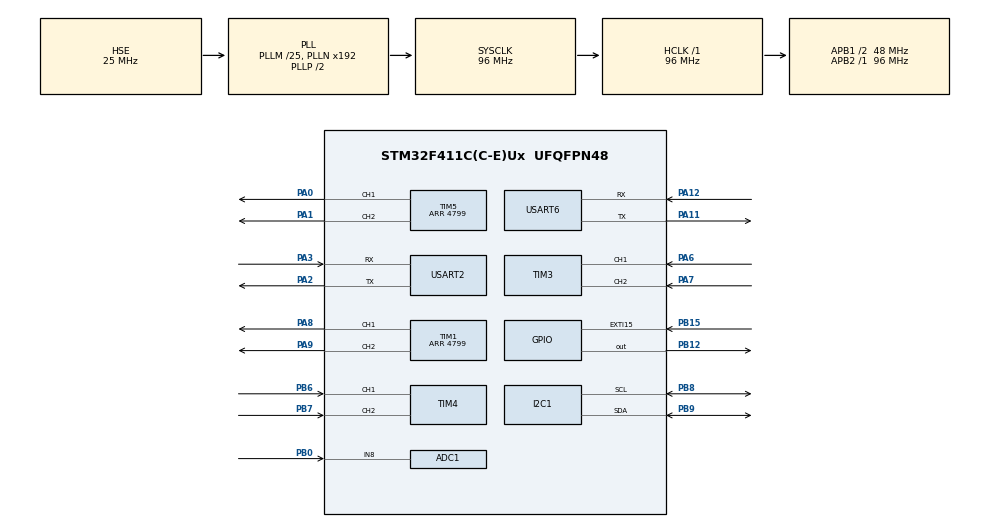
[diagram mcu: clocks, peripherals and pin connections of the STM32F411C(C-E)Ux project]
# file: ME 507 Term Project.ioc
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ADC1.Channel-3\#ChannelRegularConversion=ADC_CHANNEL_8
ADC1.NbrOfConversionFlag=1
ADC1.Rank-3\#ChannelRegularConversion=1
ADC1.SamplingTime-3\#ChannelRegularConversion=ADC_SAMPLETIME_3CYCLES
ADC1.master=1
Dma.Request0=USART2_RX
Dma.USART2_RX.0.Direction=DMA_PERIPH_TO_MEMORY
Dma.USART2_RX.0.FIFOMode=DMA_FIFOMODE_DISABLE
Dma.USART2_RX.0.Instance=DMA1_Stream5
Dma.USART2_RX.0.MemDataAlignment=DMA_MDATAALIGN_BYTE
Dma.USART2_RX.0.MemInc=DMA_MINC_ENABLE
Dma.USART2_RX.0.Mode=DMA_NORMAL
Dma.USART2_RX.0.PeriphDataAlignment=DMA_PDATAALIGN_BYTE
Dma.USART2_RX.0.PeriphInc=DMA_PINC_DISABLE
Dma.USART2_RX.0.Priority=DMA_PRIORITY_LOW
I2C1.I2C_Mode=I2C_Fast
Mcu.Family=STM32F4
Mcu.Name=STM32F411C(C-E)Ux
Mcu.Package=UFQFPN48
NVIC.DMA1_Stream5_IRQn=true\:0\:0\:false\:false\:true\:false\:true\:true
NVIC.EXTI15_10_IRQn=true\:0\:0\:false\:false\:true\:true\:true\:true
NVIC.PriorityGroup=NVIC_PRIORITYGROUP_4
NVIC.USART2_IRQn=true\:0\:0\:false\:false\:true\:true\:true\:true
NVIC.USART6_IRQn=true\:0\:0\:false\:false\:true\:true\:true\:true
PA0-WKUP.Signal=S_TIM5_CH1
PA1.Signal=S_TIM5_CH2
PA11.Mode=Asynchronous
PA11.Signal=USART6_TX
PA12.Mode=Asynchronous
PA12.Signal=USART6_RX
PA13.Mode=Trace_Asynchronous_SW
PA13.Signal=SYS_JTMS-SWDIO
PA14.Mode=Trace_Asynchronous_SW
PA14.Signal=SYS_JTCK-SWCLK
PA2.Mode=Asynchronous
PA2.Signal=USART2_TX
PA3.Mode=Asynchronous
PA3.Signal=USART2_RX
PA5.Signal=S_TIM2_CH1_ETR
PA6.Signal=S_TIM3_CH1
PA7.Signal=S_TIM3_CH2
PA8.Signal=S_TIM1_CH1
PA9.Signal=S_TIM1_CH2
PB0.Signal=ADCx_IN8
PB12.Signal=GPIO_Output
PB15.GPIO_ModeDefaultEXTI=GPIO_MODE_IT_FALLING
PB15.Signal=GPXTI15
PB3.Mode=Trace_Asynchronous_SW
PB3.Signal=SYS_JTDO-SWO
PB6.Signal=S_TIM4_CH1
PB7.Signal=S_TIM4_CH2
PB8.Mode=I2C
PB8.Signal=I2C1_SCL
PB9.Mode=I2C
PB9.Signal=I2C1_SDA
PH0\ -\ OSC_IN.Mode=HSE-External-Oscillator
PH0\ -\ OSC_IN.Signal=RCC_OSC_IN
PH1\ -\ OSC_OUT.Mode=HSE-External-Oscillator
PH1\ -\ OSC_OUT.Signal=RCC_OSC_OUT
ProjectManager.HeapSize=0x200
ProjectManager.StackSize=0x400
ProjectManager.TargetToolchain=STM32CubeIDE
RCC.48MHZClocksFreq_Value=48000000
RCC.AHBFreq_Value=96000000
RCC.APB1CLKDivider=RCC_HCLK_DIV2
RCC.APB1Freq_Value=48000000
RCC.APB1TimFreq_Value=96000000
RCC.APB2Freq_Value=96000000
RCC.APB2TimFreq_Value=96000000
RCC.CortexFreq_Value=96000000
RCC.HCLKFreq_Value=96000000
RCC.HSE_VALUE=25000000
RCC.HSI_VALUE=16000000
RCC.LSE_VALUE=32768
RCC.PLLM=25
RCC.PLLSourceVirtual=RCC_PLLSOURCE_HSE
RCC.SYSCLKFreq_VALUE=96000000
RCC.SYSCLKSource=RCC_SYSCLKSOURCE_PLLCLK
RCC.VCOOutputFreq_Value=192000000
SH.ADCx_IN8.0=ADC1_IN8,IN8
SH.S_TIM1_CH1.0=TIM1_CH1,PWM Generation1 CH1
SH.S_TIM1_CH2.0=TIM1_CH2,PWM Generation2 CH2
SH.S_TIM2_CH1_ETR.0=TIM2_CH1
SH.S_TIM3_CH1.0=TIM3_CH1,Encoder_Interface
SH.S_TIM3_CH2.0=TIM3_CH2,Encoder_Interface
SH.S_TIM4_CH1.0=TIM4_CH1,Encoder_Interface
SH.S_TIM4_CH2.0=TIM4_CH2,Encoder_Interface
SH.S_TIM5_CH1.0=TIM5_CH1,PWM Generation1 CH1
SH.S_TIM5_CH2.0=TIM5_CH2,PWM Generation2 CH2
TIM1.Channel-PWM\ Generation1\ CH1=TIM_CHANNEL_1
TIM1.Channel-PWM\ Generation2\ CH2=TIM_CHANNEL_2
TIM1.OCPolarity_1=TIM_OCPOLARITY_LOW
TIM1.OCPolarity_2=TIM_OCPOLARITY_LOW
TIM1.Period=4799
TIM1.TIM_MasterOutputTrigger=TIM_TRGO_OC2REF
TIM2.Prescaler=95
TIM3.EncoderMode=TIM_ENCODERMODE_TI12
TIM3.IC1Filter=3
TIM3.IC1Polarity=TIM_ICPOLARITY_FALLING
TIM4.EncoderMode=TIM_ENCODERMODE_TI12
TIM4.IC1Filter=3
TIM4.IC2Filter=3
TIM5.Channel-PWM\ Generation1\ CH1=TIM_CHANNEL_1
TIM5.Channel-PWM\ Generation2\ CH2=TIM_CHANNEL_2
TIM5.OCPolarity_1=TIM_OCPOLARITY_LOW
TIM5.OCPolarity_2=TIM_OCPOLARITY_LOW
TIM5.Period=4799
TIM5.TIM_MasterOutputTrigger=TIM_TRGO_OC2REF
USART2.VirtualMode=VM_ASYNC
USART6.VirtualMode=VM_ASYNC
VP_TIM2_VS_ClockSourceINT.Mode=Internal
board=custom

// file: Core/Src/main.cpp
/* USER CODE BEGIN Header */
/**
  ******************************************************************************
  * @file main.c
  * @brief Main control logic for self-balancing differential drive robot.
  * @details Initializes all peripherals, sensor interfaces, and control tasks.
  *          Executes an infinite loop running control algorithms based on either
  *          Bluetooth commands from a laptop or custom controller inputs from a lab partner.
  *
  * Developed for ME 507 Spring 2025 at Cal Poly.
  *
  * @author Jack Maxwell
  * @date 2025-06-10
  ******************************************************************************
  * @attention
  *
  * Copyright (c) 2025 STMicroelectronics.
  * All rights reserved.
  *
  * This software is licensed under terms that can be found in the LICENSE file
  * in the root directory of this software component.
  * If no LICENSE file comes with this software, it is provided AS-IS.
  *
  ******************************************************************************
  */

/* USER CODE END Header */
#include "main.h"

/* USER CODE BEGIN Includes */
#include "motor_driver.h"
#include "encoder.h"
#include "time_utils.h"
#include "BNO055_STM32.h"
#include "bno055_init.h"

#include "uart_dma_idle.h"
#include "command_parser.h"

#include "motor_task.h"
#include "balance.h"
#include "heading.h"
#include "bluetooth.h"
#include "battery_check.h"

#include <stdint.h>
#include <stdio.h>
#include <stdlib.h>
#include <string.h>
/* USER CODE END Includes */

ADC_HandleTypeDef hadc1;

I2C_HandleTypeDef hi2c1;

TIM_HandleTypeDef htim1;
TIM_HandleTypeDef htim2;
TIM_HandleTypeDef htim3;
TIM_HandleTypeDef htim4;
TIM_HandleTypeDef htim5;

UART_HandleTypeDef huart2;
UART_HandleTypeDef huart6;
DMA_HandleTypeDef hdma_usart2_rx;

/* USER CODE BEGIN PV */

// FSM Initialization
    HEADING heading = HEADING();
    BALANCE balance = BALANCE();
    MOTOR_TASK motor_task = MOTOR_TASK();
    BLUETOOTH bluetooth = BLUETOOTH();
    BATTERY_CHECK battery_check = BATTERY_CHECK();

// Declare BNO055
    BNO055_Sensors_t BNO055;	/*!BNO055 data structure definition which hold euler, quaternion, linearaccel, gyro etc. parameters*/

// Declare command parser class
    COMMAND_PARSER parser;

// Declare User button variable
    volatile bool USER = 0;

// Code for testing controller commands
    #define BUFFER_SIZE 64
    uint8_t rx_byte;
    uint8_t rx_buffer[BUFFER_SIZE];
    uint8_t buffer_index = 0;
    volatile uint8_t command_ready = 0;

// Code for initializing velocity setpoint for laptop bluetooth control
    int32_t AR = 0;
    int32_t V = 0;

/* USER CODE END PV */

void SystemClock_Config(void);
static void MX_GPIO_Init(void);
static void MX_DMA_Init(void);
static void MX_ADC1_Init(void);
static void MX_I2C1_Init(void);
static void MX_TIM1_Init(void);
static void MX_TIM3_Init(void);
static void MX_TIM4_Init(void);
static void MX_TIM5_Init(void);
static void MX_USART2_UART_Init(void);
static void MX_USART6_UART_Init(void);
static void MX_TIM2_Init(void);

int main(void)
{

  /* MCU Configuration--------------------------------------------------------*/

  /* Reset of all peripherals, Initializes the Flash interface and the Systick. */
  HAL_Init();

  /* Configure the system clock */
  SystemClock_Config();

  /* Initialize all configured peripherals */
  MX_GPIO_Init();
  MX_DMA_Init();
  MX_ADC1_Init();
  MX_I2C1_Init();
  MX_TIM1_Init();
  MX_TIM3_Init();
  MX_TIM4_Init();
  MX_TIM5_Init();
  MX_USART2_UART_Init();
  MX_USART6_UART_Init();
  MX_TIM2_Init();
  /* USER CODE BEGIN 2 */
  UART_DMA_IDLE_Init(&huart2);	// Start DMA IDLE Line detection.

  Sensor_Init();  	//Initialization of BNO055 sensor groups

  // Code for setting modified velocity
  AR = htim1.Init.Period;
  //  V = (AR * 20) / 100;	// 20% Velocity Modifier
  V = 5000;	// Velocity setpoint in encoder counts per second
  HAL_TIM_Base_Start(&htim2);	// Start timer 2 to allow use of time_utils

  /* USER CODE END 2 */

  /* Infinite loop */
  /* USER CODE BEGIN WHILE */
  while (1)
  {
      // The following block of code is meant for use while the robot is connected to a laptop/computer
	// and is being controlled using the arrow keys through use of robot_controller.py

//      if (command_ready) {
//          bluetooth.set_command(rx_buffer[0]);  // First char of command
//          command_ready = 0;
//      }
//      bluetooth.run();	// Run bluetooth task that generates motor commands based on laptop keyboard input
//      balance.run();		// Run balance task that balances the robot based on Euler Angle data from the IMU
//				  // In theory, the balance code should work with my lab partner's controller. However,
//				  // this remains untested

      // The following block of code is meant for use while the robot is being controlled by my lab
      // partner's smart knob controller

      parser.parse();	// Run command parsing script to generate motor commands based on smart knob input
      heading.run();	// Run heading control task to generate motor commands based on the robot's heading

      // The following block of code should always run, regardless of the controller input

      motor_task.run();		// Run motor control task to receive commands from controller tasks
				  // and apply PWM duty cycle accordingly
      battery_check.run();	// Run battery check task to turn on an LED when battery is too low
      HAL_Delay(1);		// Slight delay to prevent control loops from running too fast

    /* USER CODE END WHILE */

  }
}

void SystemClock_Config(void)
{
  RCC_OscInitTypeDef RCC_OscInitStruct = {0};
  RCC_ClkInitTypeDef RCC_ClkInitStruct = {0};

  /** Configure the main internal regulator output voltage
  */
  __HAL_RCC_PWR_CLK_ENABLE();
  __HAL_PWR_VOLTAGESCALING_CONFIG(PWR_REGULATOR_VOLTAGE_SCALE1);

  /** Initializes the RCC Oscillators according to the specified parameters
  * in the RCC_OscInitTypeDef structure.
  */
  RCC_OscInitStruct.OscillatorType = RCC_OSCILLATORTYPE_HSE;
  RCC_OscInitStruct.HSEState = RCC_HSE_ON;
  RCC_OscInitStruct.PLL.PLLState = RCC_PLL_ON;
  RCC_OscInitStruct.PLL.PLLSource = RCC_PLLSOURCE_HSE;
  RCC_OscInitStruct.PLL.PLLM = 25;
  RCC_OscInitStruct.PLL.PLLN = 192;
  RCC_OscInitStruct.PLL.PLLP = RCC_PLLP_DIV2;
  RCC_OscInitStruct.PLL.PLLQ = 4;
  if (HAL_RCC_OscConfig(&RCC_OscInitStruct) != HAL_OK)
  {
    Error_Handler();
  }

  /** Initializes the CPU, AHB and APB buses clocks
  */
  RCC_ClkInitStruct.ClockType = RCC_CLOCKTYPE_HCLK|RCC_CLOCKTYPE_SYSCLK
                              |RCC_CLOCKTYPE_PCLK1|RCC_CLOCKTYPE_PCLK2;
  RCC_ClkInitStruct.SYSCLKSource = RCC_SYSCLKSOURCE_PLLCLK;
  RCC_ClkInitStruct.AHBCLKDivider = RCC_SYSCLK_DIV1;
  RCC_ClkInitStruct.APB1CLKDivider = RCC_HCLK_DIV2;
  RCC_ClkInitStruct.APB2CLKDivider = RCC_HCLK_DIV1;

  if (HAL_RCC_ClockConfig(&RCC_ClkInitStruct, FLASH_LATENCY_3) != HAL_OK)
  {
    Error_Handler();
  }
}

static void MX_ADC1_Init(void)
{

  ADC_ChannelConfTypeDef sConfig = {0};

  /** Configure the global features of the ADC (Clock, Resolution, Data Alignment and number of conversion)
  */
  hadc1.Instance = ADC1;
  hadc1.Init.ClockPrescaler = ADC_CLOCK_SYNC_PCLK_DIV4;
  hadc1.Init.Resolution = ADC_RESOLUTION_12B;
  hadc1.Init.ScanConvMode = DISABLE;
  hadc1.Init.ContinuousConvMode = DISABLE;
  hadc1.Init.DiscontinuousConvMode = DISABLE;
  hadc1.Init.ExternalTrigConvEdge = ADC_EXTERNALTRIGCONVEDGE_NONE;
  hadc1.Init.ExternalTrigConv = ADC_SOFTWARE_START;
  hadc1.Init.DataAlign = ADC_DATAALIGN_RIGHT;
  hadc1.Init.NbrOfConversion = 1;
  hadc1.Init.DMAContinuousRequests = DISABLE;
  hadc1.Init.EOCSelection = ADC_EOC_SINGLE_CONV;
  if (HAL_ADC_Init(&hadc1) != HAL_OK)
  {
    Error_Handler();
  }

  /** Configure for the selected ADC regular channel its corresponding rank in the sequencer and its sample time.
  */
  sConfig.Channel = ADC_CHANNEL_8;
  sConfig.Rank = 1;
  sConfig.SamplingTime = ADC_SAMPLETIME_3CYCLES;
  if (HAL_ADC_ConfigChannel(&hadc1, &sConfig) != HAL_OK)
  {
    Error_Handler();
  }

}

static void MX_I2C1_Init(void)
{

  hi2c1.Instance = I2C1;
  hi2c1.Init.ClockSpeed = 400000;
  hi2c1.Init.DutyCycle = I2C_DUTYCYCLE_2;
  hi2c1.Init.OwnAddress1 = 0;
  hi2c1.Init.AddressingMode = I2C_ADDRESSINGMODE_7BIT;
  hi2c1.Init.DualAddressMode = I2C_DUALADDRESS_DISABLE;
  hi2c1.Init.OwnAddress2 = 0;
  hi2c1.Init.GeneralCallMode = I2C_GENERALCALL_DISABLE;
  hi2c1.Init.NoStretchMode = I2C_NOSTRETCH_DISABLE;
  if (HAL_I2C_Init(&hi2c1) != HAL_OK)
  {
    Error_Handler();
  }

}

static void MX_TIM1_Init(void)
{

  TIM_MasterConfigTypeDef sMasterConfig = {0};
  TIM_OC_InitTypeDef sConfigOC = {0};
  TIM_BreakDeadTimeConfigTypeDef sBreakDeadTimeConfig = {0};

  htim1.Instance = TIM1;
  htim1.Init.Prescaler = 0;
  htim1.Init.CounterMode = TIM_COUNTERMODE_UP;
  htim1.Init.Period = 4799;
  htim1.Init.ClockDivision = TIM_CLOCKDIVISION_DIV1;
  htim1.Init.RepetitionCounter = 0;
  htim1.Init.AutoReloadPreload = TIM_AUTORELOAD_PRELOAD_DISABLE;
  if (HAL_TIM_PWM_Init(&htim1) != HAL_OK)
  {
    Error_Handler();
  }
  sMasterConfig.MasterOutputTrigger = TIM_TRGO_OC2REF;
  sMasterConfig.MasterSlaveMode = TIM_MASTERSLAVEMODE_DISABLE;
  if (HAL_TIMEx_MasterConfigSynchronization(&htim1, &sMasterConfig) != HAL_OK)
  {
    Error_Handler();
  }
  sConfigOC.OCMode = TIM_OCMODE_PWM1;
  sConfigOC.Pulse = 0;
  sConfigOC.OCPolarity = TIM_OCPOLARITY_LOW;
  sConfigOC.OCNPolarity = TIM_OCNPOLARITY_HIGH;
  sConfigOC.OCFastMode = TIM_OCFAST_DISABLE;
  sConfigOC.OCIdleState = TIM_OCIDLESTATE_RESET;
  sConfigOC.OCNIdleState = TIM_OCNIDLESTATE_RESET;
  if (HAL_TIM_PWM_ConfigChannel(&htim1, &sConfigOC, TIM_CHANNEL_1) != HAL_OK)
  {
    Error_Handler();
  }
  if (HAL_TIM_PWM_ConfigChannel(&htim1, &sConfigOC, TIM_CHANNEL_2) != HAL_OK)
  {
    Error_Handler();
  }
  sBreakDeadTimeConfig.OffStateRunMode = TIM_OSSR_DISABLE;
  sBreakDeadTimeConfig.OffStateIDLEMode = TIM_OSSI_DISABLE;
  sBreakDeadTimeConfig.LockLevel = TIM_LOCKLEVEL_OFF;
  sBreakDeadTimeConfig.DeadTime = 0;
  sBreakDeadTimeConfig.BreakState = TIM_BREAK_DISABLE;
  sBreakDeadTimeConfig.BreakPolarity = TIM_BREAKPOLARITY_HIGH;
  sBreakDeadTimeConfig.AutomaticOutput = TIM_AUTOMATICOUTPUT_DISABLE;
  if (HAL_TIMEx_ConfigBreakDeadTime(&htim1, &sBreakDeadTimeConfig) != HAL_OK)
  {
    Error_Handler();
  }
  HAL_TIM_MspPostInit(&htim1);

}

static void MX_TIM2_Init(void)
{

  TIM_ClockConfigTypeDef sClockSourceConfig = {0};
  TIM_MasterConfigTypeDef sMasterConfig = {0};

  htim2.Instance = TIM2;
  htim2.Init.Prescaler = 95;
  htim2.Init.CounterMode = TIM_COUNTERMODE_UP;
  htim2.Init.Period = 4294967295;
  htim2.Init.ClockDivision = TIM_CLOCKDIVISION_DIV1;
  htim2.Init.AutoReloadPreload = TIM_AUTORELOAD_PRELOAD_DISABLE;
  if (HAL_TIM_Base_Init(&htim2) != HAL_OK)
  {
    Error_Handler();
  }
  sClockSourceConfig.ClockSource = TIM_CLOCKSOURCE_INTERNAL;
  if (HAL_TIM_ConfigClockSource(&htim2, &sClockSourceConfig) != HAL_OK)
  {
    Error_Handler();
  }
  sMasterConfig.MasterOutputTrigger = TIM_TRGO_RESET;
  sMasterConfig.MasterSlaveMode = TIM_MASTERSLAVEMODE_DISABLE;
  if (HAL_TIMEx_MasterConfigSynchronization(&htim2, &sMasterConfig) != HAL_OK)
  {
    Error_Handler();
  }

}

static void MX_TIM3_Init(void)
{

  TIM_Encoder_InitTypeDef sConfig = {0};
  TIM_MasterConfigTypeDef sMasterConfig = {0};

  htim3.Instance = TIM3;
  htim3.Init.Prescaler = 0;
  htim3.Init.CounterMode = TIM_COUNTERMODE_UP;
  htim3.Init.Period = 65535;
  htim3.Init.ClockDivision = TIM_CLOCKDIVISION_DIV1;
  htim3.Init.AutoReloadPreload = TIM_AUTORELOAD_PRELOAD_DISABLE;
  sConfig.EncoderMode = TIM_ENCODERMODE_TI12;
  sConfig.IC1Polarity = TIM_ICPOLARITY_FALLING;
  sConfig.IC1Selection = TIM_ICSELECTION_DIRECTTI;
  sConfig.IC1Prescaler = TIM_ICPSC_DIV1;
  sConfig.IC1Filter = 3;
  sConfig.IC2Polarity = TIM_ICPOLARITY_RISING;
  sConfig.IC2Selection = TIM_ICSELECTION_DIRECTTI;
  sConfig.IC2Prescaler = TIM_ICPSC_DIV1;
  sConfig.IC2Filter = 0;
  if (HAL_TIM_Encoder_Init(&htim3, &sConfig) != HAL_OK)
  {
    Error_Handler();
  }
  sMasterConfig.MasterOutputTrigger = TIM_TRGO_RESET;
  sMasterConfig.MasterSlaveMode = TIM_MASTERSLAVEMODE_DISABLE;
  if (HAL_TIMEx_MasterConfigSynchronization(&htim3, &sMasterConfig) != HAL_OK)
  {
    Error_Handler();
  }

}

static void MX_TIM4_Init(void)
{

  TIM_Encoder_InitTypeDef sConfig = {0};
  TIM_MasterConfigTypeDef sMasterConfig = {0};

  htim4.Instance = TIM4;
  htim4.Init.Prescaler = 0;
  htim4.Init.CounterMode = TIM_COUNTERMODE_UP;
  htim4.Init.Period = 65535;
  htim4.Init.ClockDivision = TIM_CLOCKDIVISION_DIV1;
  htim4.Init.AutoReloadPreload = TIM_AUTORELOAD_PRELOAD_DISABLE;
  sConfig.EncoderMode = TIM_ENCODERMODE_TI12;
  sConfig.IC1Polarity = TIM_ICPOLARITY_RISING;
  sConfig.IC1Selection = TIM_ICSELECTION_DIRECTTI;
  sConfig.IC1Prescaler = TIM_ICPSC_DIV1;
  sConfig.IC1Filter = 3;
  sConfig.IC2Polarity = TIM_ICPOLARITY_RISING;
  sConfig.IC2Selection = TIM_ICSELECTION_DIRECTTI;
  sConfig.IC2Prescaler = TIM_ICPSC_DIV1;
  sConfig.IC2Filter = 3;
  if (HAL_TIM_Encoder_Init(&htim4, &sConfig) != HAL_OK)
  {
    Error_Handler();
  }
  sMasterConfig.MasterOutputTrigger = TIM_TRGO_RESET;
  sMasterConfig.MasterSlaveMode = TIM_MASTERSLAVEMODE_DISABLE;
  if (HAL_TIMEx_MasterConfigSynchronization(&htim4, &sMasterConfig) != HAL_OK)
  {
    Error_Handler();
  }

}

static void MX_TIM5_Init(void)
{

  TIM_MasterConfigTypeDef sMasterConfig = {0};
  TIM_OC_InitTypeDef sConfigOC = {0};

  htim5.Instance = TIM5;
  htim5.Init.Prescaler = 0;
  htim5.Init.CounterMode = TIM_COUNTERMODE_UP;
  htim5.Init.Period = 4799;
  htim5.Init.ClockDivision = TIM_CLOCKDIVISION_DIV1;
  htim5.Init.AutoReloadPreload = TIM_AUTORELOAD_PRELOAD_DISABLE;
  if (HAL_TIM_PWM_Init(&htim5) != HAL_OK)
  {
    Error_Handler();
  }
  sMasterConfig.MasterOutputTrigger = TIM_TRGO_OC2REF;
  sMasterConfig.MasterSlaveMode = TIM_MASTERSLAVEMODE_DISABLE;
  if (HAL_TIMEx_MasterConfigSynchronization(&htim5, &sMasterConfig) != HAL_OK)
  {
    Error_Handler();
  }
  sConfigOC.OCMode = TIM_OCMODE_PWM1;
  sConfigOC.Pulse = 0;
  sConfigOC.OCPolarity = TIM_OCPOLARITY_LOW;
  sConfigOC.OCFastMode = TIM_OCFAST_DISABLE;
  if (HAL_TIM_PWM_ConfigChannel(&htim5, &sConfigOC, TIM_CHANNEL_1) != HAL_OK)
  {
    Error_Handler();
  }
  if (HAL_TIM_PWM_ConfigChannel(&htim5, &sConfigOC, TIM_CHANNEL_2) != HAL_OK)
  {
    Error_Handler();
  }
  HAL_TIM_MspPostInit(&htim5);

}

static void MX_USART2_UART_Init(void)
{

  huart2.Instance = USART2;
  huart2.Init.BaudRate = 115200;
  huart2.Init.WordLength = UART_WORDLENGTH_8B;
  huart2.Init.StopBits = UART_STOPBITS_1;
  huart2.Init.Parity = UART_PARITY_NONE;
  huart2.Init.Mode = UART_MODE_TX_RX;
  huart2.Init.HwFlowCtl = UART_HWCONTROL_NONE;
  huart2.Init.OverSampling = UART_OVERSAMPLING_16;
  if (HAL_UART_Init(&huart2) != HAL_OK)
  {
    Error_Handler();
  }

}

static void MX_USART6_UART_Init(void)
{

  huart6.Instance = USART6;
  huart6.Init.BaudRate = 115200;
  huart6.Init.WordLength = UART_WORDLENGTH_8B;
  huart6.Init.StopBits = UART_STOPBITS_1;
  huart6.Init.Parity = UART_PARITY_NONE;
  huart6.Init.Mode = UART_MODE_TX_RX;
  huart6.Init.HwFlowCtl = UART_HWCONTROL_NONE;
  huart6.Init.OverSampling = UART_OVERSAMPLING_16;
  if (HAL_UART_Init(&huart6) != HAL_OK)
  {
    Error_Handler();
  }

}

static void MX_DMA_Init(void)
{

  /* DMA controller clock enable */
  __HAL_RCC_DMA1_CLK_ENABLE();

  /* DMA interrupt init */
  /* DMA1_Stream5_IRQn interrupt configuration */
  HAL_NVIC_SetPriority(DMA1_Stream5_IRQn, 0, 0);
  HAL_NVIC_EnableIRQ(DMA1_Stream5_IRQn);

}

static void MX_GPIO_Init(void)
{
  GPIO_InitTypeDef GPIO_InitStruct = {0};

  /* GPIO Ports Clock Enable */
  __HAL_RCC_GPIOH_CLK_ENABLE();
  __HAL_RCC_GPIOA_CLK_ENABLE();
  __HAL_RCC_GPIOB_CLK_ENABLE();

  /*Configure GPIO pin Output Level */
  HAL_GPIO_WritePin(GPIOB, GPIO_PIN_12, GPIO_PIN_RESET);

  /*Configure GPIO pin : PB12 */
  GPIO_InitStruct.Pin = GPIO_PIN_12;
  GPIO_InitStruct.Mode = GPIO_MODE_OUTPUT_PP;
  GPIO_InitStruct.Pull = GPIO_NOPULL;
  GPIO_InitStruct.Speed = GPIO_SPEED_FREQ_LOW;
  HAL_GPIO_Init(GPIOB, &GPIO_InitStruct);

  /*Configure GPIO pin : PB15 */
  GPIO_InitStruct.Pin = GPIO_PIN_15;
  GPIO_InitStruct.Mode = GPIO_MODE_IT_FALLING;
  GPIO_InitStruct.Pull = GPIO_NOPULL;
  HAL_GPIO_Init(GPIOB, &GPIO_InitStruct);

  /* EXTI interrupt init*/
  HAL_NVIC_SetPriority(EXTI15_10_IRQn, 0, 0);
  HAL_NVIC_EnableIRQ(EXTI15_10_IRQn);

}

/* USER CODE BEGIN 4 */

// User Button Interrupt
void HAL_GPIO_EXTI_Callback(uint16_t GPIO_Pin) {
    if (GPIO_Pin == GPIO_PIN_15) {  // PB15
        USER = 1;  // Set User Button flag
    }
}
/* USER CODE END 4 */

void Error_Handler(void)
{
  __disable_irq();
  while (1)
  {
  }
}
